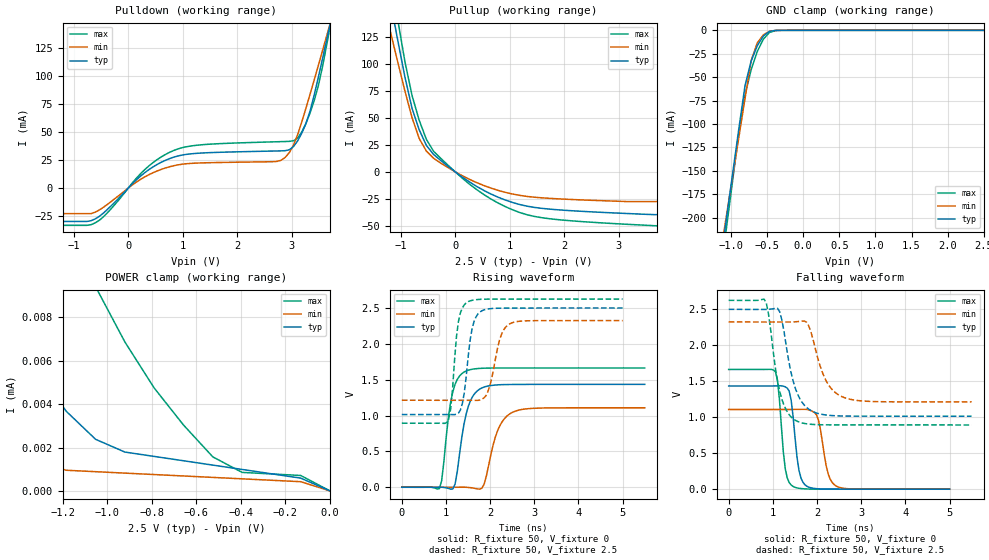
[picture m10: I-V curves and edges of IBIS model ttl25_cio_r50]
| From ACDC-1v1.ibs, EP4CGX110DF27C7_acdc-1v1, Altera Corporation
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[Model]   ttl25_cio_r50
Model_type  I/O
Polarity   Non-Inverting
Enable Active-Low
Vinl   = 0.7
Vinh   = 1.7
Vmeas  = 1.1625
Rref   = 10M
Cref   = 0pF
Vref   = 0
| C_comp values for normal column I/O
C_comp 4.7pF   4.7pF   4.7pF
[Temperature Range] 25   85   0
[Voltage Range]  2.5   2.325   2.625
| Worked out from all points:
|   slope of the pulldown table from 0 to 0.375 V, typ, clamps not added: 23 ohm
|   slope of the pullup table from 0 to 0.375 V, typ, clamps not added: 28.9 ohm
|   GND clamp passes 1 mA (typ) near -0.45 V on its own axis
|   rising waveform, R_fixture 50, V_fixture 0: 20-80 % time 247ps typ, 309ps min, 207ps max; typ from 0 V to 1.44 V
|   falling waveform, R_fixture 50, V_fixture 0: 20-80 % time 154ps typ, 191ps min, 137ps max; typ from 1.44 V to 0 V
|   rising waveform, R_fixture 50, V_fixture 2.5: 20-80 % time 176ps typ, 239ps min, 146ps max; typ from 1.01 V to 2.5 V
|   falling waveform, R_fixture 50, V_fixture 2.5: 20-80 % time 319ps typ, 376ps min, 274ps max; typ from 2.5 V to 1.01 V
[GND Clamp]
| voltage   I (typ)   I (min)   I (max)
-2.5V     -1.003A    -896.6mA   -1.061A
-1.144V   -246.2mA   -237.3mA   -259.1mA
-1.059V   -198.9mA   -196.1mA   -209mA
-974.6mV  -151.6mA   -154.9mA   -158.9mA
-889.8mV  -104.3mA   -113.6mA   -108.8mA
-805.1mV  -58.87mA   -72.41mA   -68.82mA
-720.3mV  -32.71mA   -32.28mA   -41.9mA
-635.6mV  -16.39mA   -13.32mA   -22.54mA
-550.8mV  -6.002mA   -4.742mA   -9.332mA
-466.1mV  -1.154mA   -978.7uA   -2.246mA
-296.6mV  -4.684uA   -8.884uA   -9.494uA
2.5V      0A         0A         0A
[Pulldown]
| voltage   I (typ)   I (min)   I (max)
-2.5V     -29.71mA   -22.7mA    -33.15mA
-681.8mV  -29.03mA   -22.7mA    -32.55mA
-378.8mV  -18.84mA   -14.37mA   -21.84mA
303mV     13.76mA    10mA       16.49mA
833.3mV   27.57mA    19.96mA    33.53mA
2.803V    33.2mA     24.8mA     41.43mA
3.03V     36.99mA    38.24mA    42.21mA
3.258V    57.38mA    71mA       57.54mA
3.485V    98.5mA     109.1mA    90.94mA
3.636V    131.6mA    135.2mA    126.9mA
3.712V    148.4mA    148.4mA    146.7mA
5V        421.5mA    373.8mA    464.2mA
[POWER Clamp]
| voltage   I (typ)   I (min)   I (max)
-2.5V     124.1uA    71.36uA    181.7uA
-1.842V   22.85uA    9.498uA    53.98uA
-1.579V   12.21uA    4.121uA    28.45uA
-1.447V   8.385uA    2.418uA    21.97uA
-1.316V   5.568uA    1.354uA    16.64uA
-1.184V   3.666uA    951.8nA    12.52uA
-1.053V   2.377uA    886nA      9.404uA
-789.5mV  1.589uA    754.4nA    4.74uA
-526.3mV  1.189uA    622.9nA    1.568uA
-394.7mV  989.5nA    557.1nA    853.5nA
-131.6mV  589.5nA    425.3nA    711.3nA
0V        0A         0A         0A
[Pullup]
| voltage   I (typ)   I (min)   I (max)
-2.5V     508.6mA    411.8mA    590.4mA
-1.316V   192.5mA    157.6mA    223.2mA
-1.184V   157.4mA    129.6mA    182.4mA
-1.053V   122.3mA    102mA      141.6mA
-789.5mV  58.86mA    50.17mA    70.78mA
-657.9mV  38.91mA    30.79mA    47.7mA
-526.3mV  24.48mA    19.17mA    30.01mA
-394.7mV  16.05mA    12.5mA     19.01mA
131.6mV   -4.932mA   -3.678mA   -5.961mA
921.1mV   -26.26mA   -19.12mA   -32.38mA
1.974V    -35.63mA   -25.35mA   -44.85mA
5V        -39.81mA   -27.66mA   -50.31mA
[Ramp]
dV/dt_r   8.610e-001/2.472e-010  6.648e-001/3.088e-010  9.984e-001/2.068e-010
dV/dt_f   8.916e-001/3.193e-010  6.666e-001/3.756e-010  1.039e+000/2.735e-010
R_load = 50ohms
[Rising Waveform]
R_fixture   = 50
V_fixture   = 0
V_fixture_min = 0
V_fixture_max = 0
| time   V (typ)   V (min)   V (max)
0s        2.639uV    2.315uV    1.245uV
851.3ps   1.084mV    -151.7uV   -19.47mV
901.9ps   669.2uV    -122.8uV   89.86mV
1.104ns   -26.77mV   -160.7uV   1.182V
1.206ns   43.29mV    -182.3uV   1.436V
1.459ns   1.026V     -321.9uV   1.623V
1.813ns   1.385V     -13.31mV   1.659V
2.168ns   1.428V     786.5mV    1.664V
2.522ns   1.434V     1.05V      1.664V
5.5ns     1.435V     1.108V     1.664V
[Falling Waveform]
R_fixture   = 50
V_fixture   = 0
V_fixture_min = 0
V_fixture_max = 0
| time   V (typ)   V (min)   V (max)
0s        1.435V     1.108V     1.664V
1.06ns    1.436V     1.108V     1.631V
1.282ns   1.423V     1.108V     282.9mV
1.459ns   1.007V     1.108V     37.87mV
1.592ns   260.9mV    1.109V     12.18mV
1.813ns   27.89mV    1.102V     2.163mV
2.035ns   4.768mV    956mV      400.4uV
2.256ns   882.8uV    205.6mV    73.55uV
2.433ns   227.2uV    44mV       19.38uV
5ns       1.105uV    0V         889.9nV
[Rising Waveform]
R_fixture   = 50
V_fixture   = 2.5
V_fixture_min = 2.325
V_fixture_max = 2.625
| time   V (typ)   V (min)   V (max)
0s        1.014V     1.214V     893.2mV
1.06ns    1.015V     1.213V     948.2mV
1.282ns   1.034V     1.213V     2.31V
1.415ns   1.316V     1.213V     2.545V
1.503ns   1.825V     1.213V     2.589V
1.725ns   2.418V     1.212V     2.619V
1.946ns   2.487V     1.329V     2.624V
2.212ns   2.498V     2.051V     2.624V
2.433ns   2.499V     2.276V     2.624V
5ns       2.5V       2.325V     2.625V
[Falling Waveform]
R_fixture   = 50
V_fixture   = 2.5
V_fixture_min = 2.325
V_fixture_max = 2.625
| time   V (typ)   V (min)   V (max)
0s        2.5V       2.325V     2.625V
851.3ps   2.499V     2.324V     2.59V
1.054ns   2.513V     2.324V     1.7V
1.155ns   2.466V     2.324V     1.36V
1.408ns   1.632V     2.324V     1.007V
1.56ns    1.322V     2.33V      941.6mV
1.763ns   1.137V     2.321V     908.6mV
2.168ns   1.034V     1.554V     894.8mV
2.573ns   1.017V     1.284V     893.4mV
5.5ns     1.014V     1.214V     893.3mV
